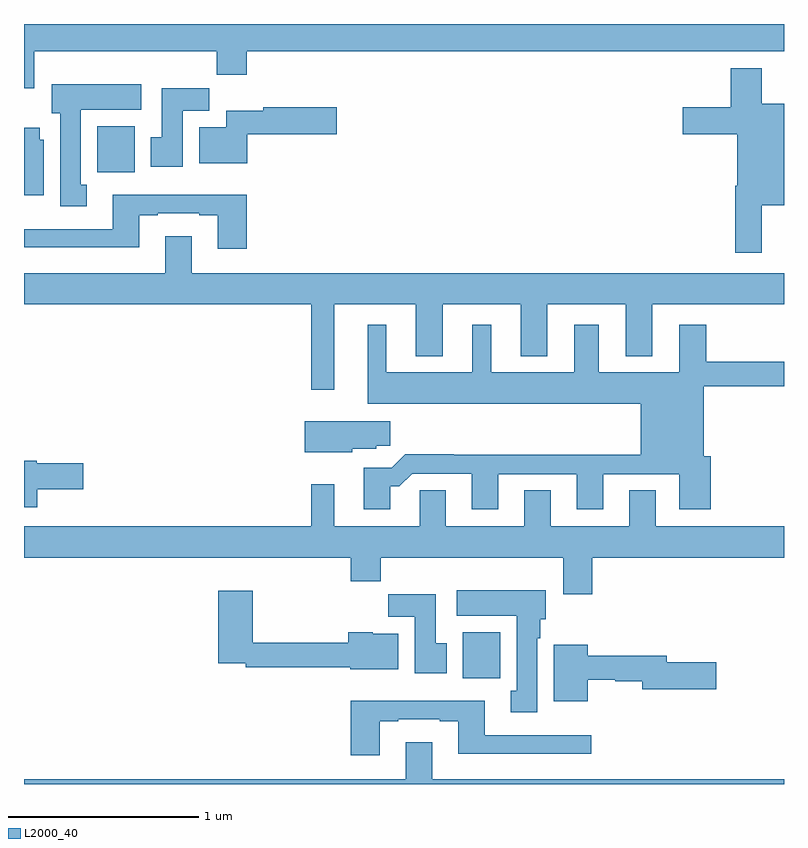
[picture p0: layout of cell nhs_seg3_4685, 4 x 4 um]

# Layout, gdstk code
import gdstk
lib = gdstk.Library(unit=1e-6, precision=1e-09)
def R(c, l, rs):  # rectangles x0, y0, x1, y1
    for r in rs: c.add(gdstk.rectangle(r[:2], r[2:], *l))
def P(c, l, *ps):  # polygons
    for p in ps: c.add(gdstk.Polygon(p, *l))
L2000_40 = (2000, 40)

nhs_seg3_4685 = lib.new_cell('nhs_seg3_4685')
R(nhs_seg3_4685, L2000_40, [(365.309,690.956,365.506,691.198), (363.386,693.62,363.583,693.862)])
P(nhs_seg3_4685, L2000_40, [(363.055,694.256),(364.015,694.256),(364.015,694.132),(364.172,694.132),(364.172,694.256),(367,694.256),(367,694.4),(363,694.4),(363,694.062),(363.055,694.062)],
  [(366.883,693.446),(367,693.446),(367,693.981),(366.883,693.981),(366.883,694.168),(366.719,694.168),(366.719,693.963),(366.468,693.963),(366.468,693.821),(366.755,693.821),(366.755,693.55),(366.743,693.55),(366.743,693.195),(366.883,693.195)],
  [(363.331,693.554),(363.298,693.554),(363.298,693.95),(363.616,693.95),(363.616,694.084),(363.146,694.084),(363.146,693.93),(363.191,693.93),(363.191,693.441),(363.331,693.441)],
  [(363.835,693.944),(363.974,693.944),(363.974,694.063),(363.725,694.063),(363.725,693.804),(363.668,693.804),(363.668,693.648),(363.835,693.648)],
  [(364.174,693.821),(364.645,693.821),(364.645,693.963),(364.26,693.963),(364.26,693.943),(364.064,693.943),(364.064,693.856),(363.923,693.856),(363.923,693.668),(364.174,693.668)],
  [(363.103,693.792),(363.082,693.792),(363.082,693.853),(363,693.853),(363,693.5),(363.103,693.5)],
  [(364.172,693.502),(363.467,693.502),(363.467,693.321),(363,693.321),(363,693.224),(363.607,693.224),(363.607,693.393),(363.703,693.393),(363.703,693.405),(363.923,693.405),(363.923,693.393),(364.019,693.393),(364.019,693.216),(364.172,693.216)],
  [(364.633,692.924),(365.063,692.924),(365.063,692.651),(365.203,692.651),(365.203,692.924),(365.615,692.924),(365.615,692.651),(365.755,692.651),(365.755,692.924),(366.167,692.924),(366.167,692.651),(366.307,692.651),(366.307,692.924),(367,692.924),(367,693.088),(363.883,693.088),(363.883,693.283),(363.743,693.283),(363.743,693.088),(363,693.088),(363,692.924),(364.512,692.924),(364.512,692.475),(364.633,692.475)],
  [(364.927,691.967),(364.976,691.967),(365.043,692.034),(365.357,692.034),(365.357,691.845),(365.497,691.845),(365.497,692.031),(365.909,692.031),(365.909,691.845),(366.049,691.845),(366.049,692.031),(366.449,692.031),(366.449,691.845),(366.614,691.845),(366.614,692.124),(366.577,692.124),(366.577,692.494),(367,692.494),(367,692.623),(366.59,692.623),(366.59,692.818),(366.449,692.818),(366.449,692.566),(366.025,692.566),(366.025,692.818),(365.897,692.818),(365.897,692.566),(365.458,692.566),(365.458,692.818),(365.36,692.818),(365.36,692.566),(364.906,692.566),(364.906,692.818),(364.808,692.818),(364.808,692.402),(366.245,692.402),(366.245,692.132),(365.261,692.132),(365.261,692.135),(365.006,692.135),(364.935,692.064),(364.787,692.064),(364.787,691.845),(364.927,691.845)],
  [(364.728,692.165),(364.854,692.165),(364.854,692.179),(364.927,692.179),(364.927,692.308),(364.478,692.308),(364.478,692.147),(364.728,692.147)],
  [(363.07,691.952),(363.313,691.952),(363.313,692.087),(363.066,692.087),(363.066,692.101),(363,692.101),(363,691.856),(363.07,691.856)],
  [(365.99,691.592),(367,691.592),(367,691.756),(366.325,691.756),(366.325,691.946),(366.185,691.946),(366.185,691.756),(365.773,691.756),(365.773,691.946),(365.633,691.946),(365.633,691.756),(365.221,691.756),(365.221,691.946),(365.082,691.946),(365.082,691.756),(364.633,691.756),(364.633,691.978),(364.512,691.978),(364.512,691.756),(363,691.756),(363,691.592),(364.721,691.592),(364.721,691.468),(364.877,691.468),(364.877,691.592),(365.837,691.592),(365.837,691.398),(365.99,691.398)],
  [(365.701,691.166),(365.716,691.166),(365.716,691.266),(365.746,691.266),(365.746,691.42),(365.277,691.42),(365.277,691.286),(365.594,691.286),(365.594,690.89),(365.561,690.89),(365.561,690.777),(365.701,690.777)],
  [(364.969,691.192),(364.836,691.192),(364.836,691.198),(364.706,691.198),(364.706,691.144),(364.205,691.144),(364.205,691.417),(364.022,691.417),(364.022,691.035),(364.168,691.035),(364.168,691.015),(364.718,691.015),(364.718,691.004),(364.969,691.004)],
  [(365.224,691.14),(365.167,691.14),(365.167,691.399),(364.918,691.399),(364.918,691.28),(365.057,691.28),(365.057,690.984),(365.224,690.984)],
  [(365.968,690.948),(366.111,690.948),(366.111,690.94),(366.254,690.94),(366.254,690.898),(366.643,690.898),(366.643,691.04),(366.382,691.04),(366.382,691.076),(365.968,691.076),(365.968,691.132),(365.789,691.132),(365.789,690.836),(365.968,690.836)],
  [(364.873,690.729),(364.969,690.729),(364.969,690.741),(365.189,690.741),(365.189,690.729),(365.285,690.729),(365.285,690.56),(365.986,690.56),(365.986,690.657),(365.425,690.657),(365.425,690.838),(364.721,690.838),(364.721,690.552),(364.873,690.552)],
  [(365.149,690.619),(365.009,690.619),(365.009,690.424),(363,690.424),(363,690.4),(367,690.4),(367,690.424),(365.149,690.424)])

lib.write_gds('nhs_seg3_4685.gds')
